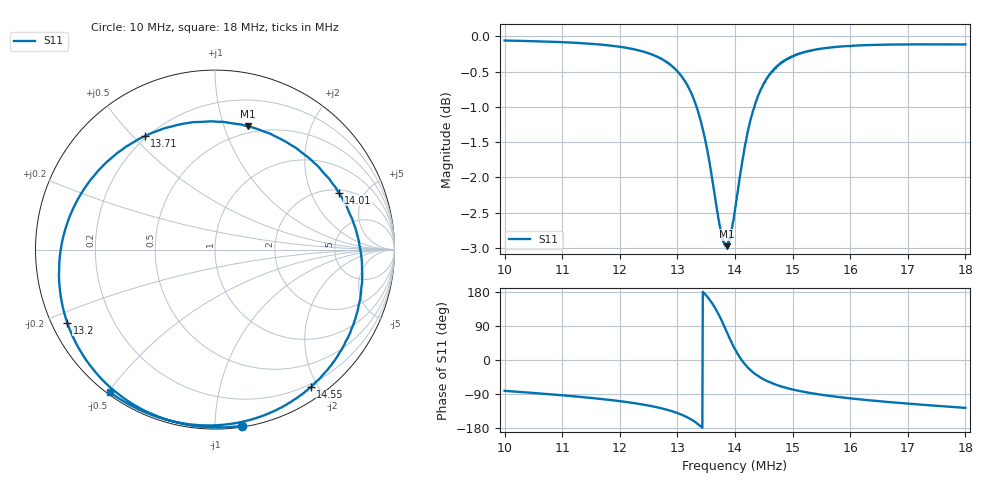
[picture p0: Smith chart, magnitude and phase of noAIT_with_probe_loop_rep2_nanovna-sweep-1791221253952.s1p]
! NanoVNA Web complex sweep
! Processing: unaveraged complex samples; linear segment spacing; no smoothing
# Hz S RI R 50
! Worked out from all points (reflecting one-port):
!   1010 points, 10 MHz to 18 MHz, reference 50 ohm
!   lowest |S11| = -3.0 dB at 13.85 MHz (marker M1), VSWR 5.89, Z = 21.7 + j60.1 ohm
!   phase of S11 starts at -81 deg and turns -405 deg over the sweep
!   S11 on the Smith chart (normalised r, x): 10 MHz: 0.01, -1.16; 13.2 MHz: 0.04, -0.23; 13.71 MHz: 0.19, +0.54; 14.01 MHz: 2.15, +3.21; 14.55 MHz: 0.16, -1.90; 18 MHz: 0.01, -0.51
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1e7  0.1483 -0.9821
1.100698e7  -0.0555 -0.989
1.200604e7  -0.3148 -0.9313
1.260071e7  -0.5313 -0.8105
1.28148e7  -0.6296 -0.7235
1.300509e7  -0.7249 -0.6043
1.320332e7  -0.8232 -0.4069
1.337775e7  -0.8692 -0.1316
1.350462e7  -0.8222 0.15
1.36077e7  -0.6761 0.4091
1.36632e7  -0.5445 0.5382
1.371077e7  -0.3917 0.6312
1.378213e7  -0.1207 0.7101
1.385349e7  0.1813 0.6863
1.392486e7  0.4516 0.5665
1.400414e7  0.6718 0.347
1.401207e7  0.6882 0.3176
1.406758e7  0.7725 0.1456
1.413101e7  0.8162 -0.0474
1.427373e7  0.7762 -0.4008
1.44006e7  0.6719 -0.6103
1.455125e7  0.5333 -0.7661
1.474947e7  0.37 -0.8796
1.50032e7  0.2017 -0.9471
1.543929e7  -0.00655 -0.9794
1.600225e7  -0.1914 -0.9652
1.700131e7  -0.4193 -0.8934
1.800036e7  -0.5848 -0.7949
